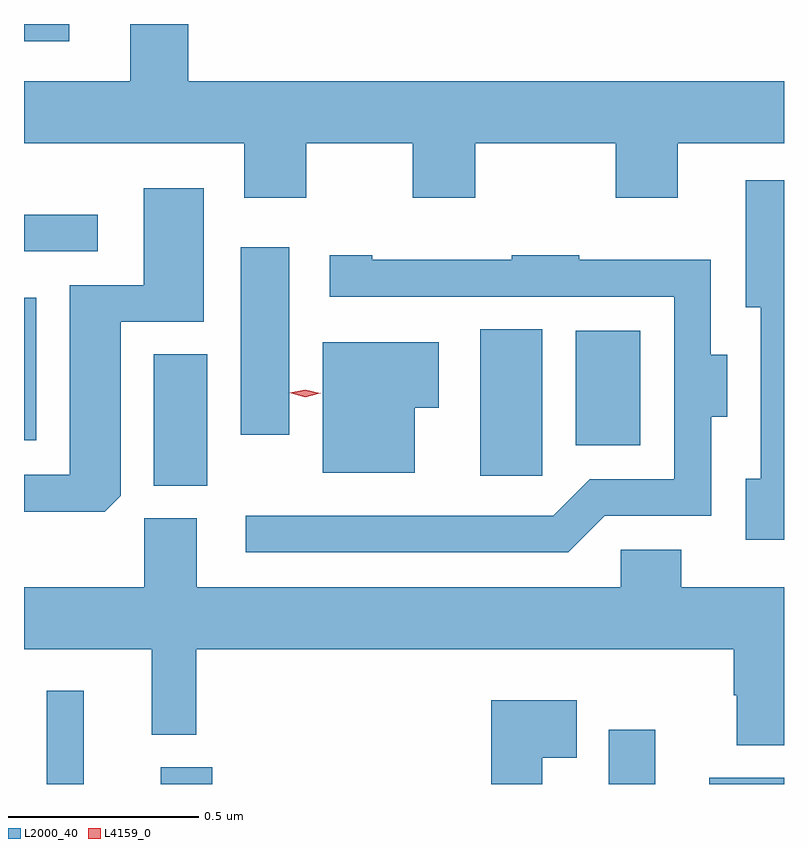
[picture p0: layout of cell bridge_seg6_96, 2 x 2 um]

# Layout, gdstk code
import gdstk
lib = gdstk.Library(unit=1e-6, precision=1e-09)
def R(c, l, rs):  # rectangles x0, y0, x1, y1
    for r in rs: c.add(gdstk.rectangle(r[:2], r[2:], *l))
def P(c, l, *ps):  # polygons
    for p in ps: c.add(gdstk.Polygon(p, *l))
L2000_40 = (2000, 40)
L4159_0 = (4159, 0)

bridge_seg6_96 = lib.new_cell('bridge_seg6_96')
R(bridge_seg6_96, L2000_40, [(846.164,954.974,846.261,955.219), (846.464,954.974,846.599,955.018), (847.643,954.974,847.765,955.117), (847.907,954.974,848.104,954.991), (846.446,955.759,846.586,956.105), (847.304,955.785,847.468,956.171), (847.556,955.865,847.726,956.167), (846.104,955.878,846.136,956.254), (846.674,955.893,846.802,956.386), (846.104,956.376,846.298,956.472), (846.104,956.928,846.223,956.974)])
P(bridge_seg6_96, L2000_40, [(846.847,956.66),(847.127,956.66),(847.127,956.517),(847.291,956.517),(847.291,956.66),(847.661,956.66),(847.661,956.517),(847.825,956.517),(847.825,956.66),(848.104,956.66),(848.104,956.824),(846.536,956.824),(846.536,956.974),(846.383,956.974),(846.383,956.824),(846.104,956.824),(846.104,956.66),(846.683,956.66),(846.683,956.517),(846.847,956.517)],
  [(848.104,956.563),(848.003,956.563),(848.003,956.228),(848.043,956.228),(848.043,955.777),(848.003,955.777),(848.003,955.617),(848.104,955.617)],
  [(846.358,955.732),(846.358,956.19),(846.577,956.19),(846.577,956.542),(846.419,956.542),(846.419,956.286),(846.224,956.286),(846.224,955.788),(846.104,955.788),(846.104,955.691),(846.317,955.691)],
  [(847.632,955.68),(847.912,955.68),(847.912,955.94),(847.954,955.94),(847.954,956.104),(847.911,956.104),(847.911,956.353),(847.565,956.353),(847.565,956.365),(847.387,956.365),(847.387,956.353),(847.021,956.353),(847.021,956.365),(846.909,956.365),(846.909,956.256),(847.815,956.256),(847.815,955.776),(847.593,955.776),(847.497,955.68),(846.687,955.68),(846.687,955.584),(847.536,955.584)],
  [(847.132,955.964),(847.195,955.964),(847.195,956.137),(846.89,956.137),(846.89,955.793),(847.132,955.793)],
  [(848.104,955.492),(847.833,955.492),(847.833,955.59),(847.674,955.59),(847.674,955.492),(846.559,955.492),(846.559,955.674),(846.421,955.674),(846.421,955.492),(846.104,955.492),(846.104,955.328),(846.44,955.328),(846.44,955.103),(846.557,955.103),(846.557,955.328),(847.972,955.328),(847.972,955.208),(847.979,955.208),(847.979,955.076),(848.104,955.076)],
  [(847.468,955.043),(847.558,955.043),(847.558,955.195),(847.334,955.195),(847.334,954.974),(847.468,954.974)])
P(bridge_seg6_96, L4159_0, [(846.844,955.992),(846.803,956.003),(846.803,956.003),(846.803,956.003),(846.844,956.012),(846.884,956.002),(846.885,956.002),(846.884,956.002)])

lib.write_gds('bridge_seg6_96.gds')
